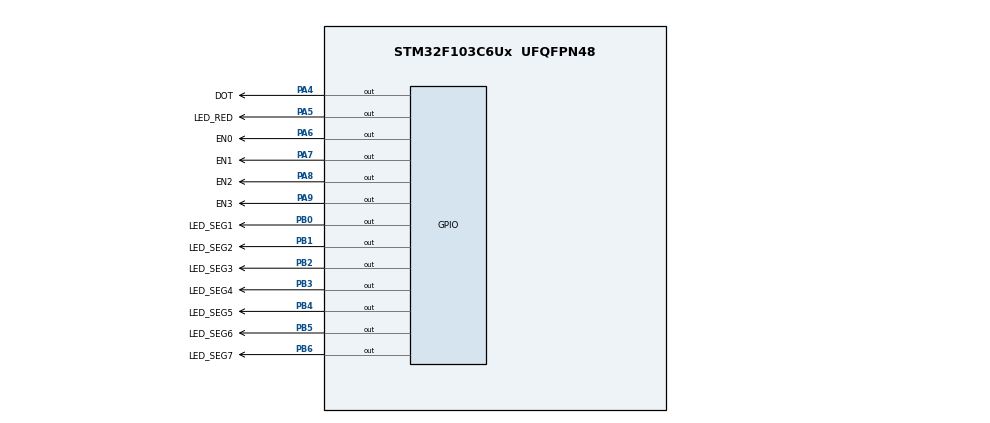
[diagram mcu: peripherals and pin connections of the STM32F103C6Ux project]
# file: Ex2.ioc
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Mcu.Family=STM32F1
Mcu.Name=STM32F103C6Ux
Mcu.Package=UFQFPN48
NVIC.PriorityGroup=NVIC_PRIORITYGROUP_4
NVIC.TIM2_IRQn=true\:0\:0\:false\:false\:true\:true\:true
PA4.GPIO_Label=DOT
PA4.Signal=GPIO_Output
PA5.GPIO_Label=LED_RED
PA5.Signal=GPIO_Output
PA6.GPIO_Label=EN0
PA6.Signal=GPIO_Output
PA7.GPIO_Label=EN1
PA7.Signal=GPIO_Output
PA8.GPIO_Label=EN2
PA8.Signal=GPIO_Output
PA9.GPIO_Label=EN3
PA9.Signal=GPIO_Output
PB0.GPIO_Label=LED_SEG1
PB0.Signal=GPIO_Output
PB1.GPIO_Label=LED_SEG2
PB1.Signal=GPIO_Output
PB2.GPIO_Label=LED_SEG3
PB2.Signal=GPIO_Output
PB3.GPIO_Label=LED_SEG4
PB3.Signal=GPIO_Output
PB4.GPIO_Label=LED_SEG5
PB4.Signal=GPIO_Output
PB5.GPIO_Label=LED_SEG6
PB5.Signal=GPIO_Output
PB6.GPIO_Label=LED_SEG7
PB6.Signal=GPIO_Output
ProjectManager.HeapSize=0x200
ProjectManager.StackSize=0x400
ProjectManager.TargetToolchain=STM32CubeIDE
RCC.APB1Freq_Value=8000000
RCC.APB2Freq_Value=8000000
TIM2.Period=9
TIM2.Prescaler=7999
VP_SYS_VS_ND.Mode=No_Debug
VP_TIM2_VS_ClockSourceINT.Mode=Internal
board=custom

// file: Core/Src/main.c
/* USER CODE BEGIN Header */
/**
  ******************************************************************************
  * @file           : main.c
  * @brief          : Main program body
  ******************************************************************************
  * @attention
  *
  * <h2><center>&copy; Copyright (c) 2022 STMicroelectronics.
  * All rights reserved.</center></h2>
  *
  * This software component is licensed by ST under BSD 3-Clause license,
  * the "License"; You may not use this file except in compliance with the
  * License. You may obtain a copy of the License at:
  *                        opensource.org/licenses/BSD-3-Clause
  *
  ******************************************************************************
  */
/* USER CODE END Header */
#include "main.h"

/* USER CODE BEGIN Includes */
#include "timer.h"
/* USER CODE END Includes */

TIM_HandleTypeDef htim2;

void SystemClock_Config(void);
static void MX_GPIO_Init(void);
static void MX_TIM2_Init(void);

/* USER CODE BEGIN 0 */
void display7SEG(int num){
	if(num==0){
		HAL_GPIO_WritePin(LED_SEG1_GPIO_Port, LED_SEG1_Pin, 0);
		HAL_GPIO_WritePin(LED_SEG2_GPIO_Port, LED_SEG2_Pin, 0);
		HAL_GPIO_WritePin(LED_SEG3_GPIO_Port, LED_SEG3_Pin, 0);
		HAL_GPIO_WritePin(LED_SEG4_GPIO_Port, LED_SEG4_Pin, 0);
		HAL_GPIO_WritePin(LED_SEG5_GPIO_Port, LED_SEG5_Pin, 0);
		HAL_GPIO_WritePin(LED_SEG6_GPIO_Port, LED_SEG6_Pin, 0);
		HAL_GPIO_WritePin(LED_SEG7_GPIO_Port, LED_SEG7_Pin, 1);
	}
	if(num==1){
		HAL_GPIO_WritePin(LED_SEG1_GPIO_Port, LED_SEG1_Pin, 1);
		HAL_GPIO_WritePin(LED_SEG2_GPIO_Port, LED_SEG2_Pin, 0);
		HAL_GPIO_WritePin(LED_SEG3_GPIO_Port, LED_SEG3_Pin, 0);
		HAL_GPIO_WritePin(LED_SEG4_GPIO_Port, LED_SEG4_Pin, 1);
		HAL_GPIO_WritePin(LED_SEG5_GPIO_Port, LED_SEG5_Pin, 1);
		HAL_GPIO_WritePin(LED_SEG6_GPIO_Port, LED_SEG6_Pin, 1);
		HAL_GPIO_WritePin(LED_SEG7_GPIO_Port, LED_SEG7_Pin, 1);
	}
	if(num==2){
		HAL_GPIO_WritePin(LED_SEG1_GPIO_Port, LED_SEG1_Pin, 0);
		HAL_GPIO_WritePin(LED_SEG2_GPIO_Port, LED_SEG2_Pin, 0);
		HAL_GPIO_WritePin(LED_SEG3_GPIO_Port, LED_SEG3_Pin, 1);
		HAL_GPIO_WritePin(LED_SEG4_GPIO_Port, LED_SEG4_Pin, 0);
		HAL_GPIO_WritePin(LED_SEG5_GPIO_Port, LED_SEG5_Pin, 0);
		HAL_GPIO_WritePin(LED_SEG6_GPIO_Port, LED_SEG6_Pin, 1);
		HAL_GPIO_WritePin(LED_SEG7_GPIO_Port, LED_SEG7_Pin, 0);
	}
	if(num==3){
		HAL_GPIO_WritePin(LED_SEG1_GPIO_Port, LED_SEG1_Pin, 0);
		HAL_GPIO_WritePin(LED_SEG2_GPIO_Port, LED_SEG2_Pin, 0);
		HAL_GPIO_WritePin(LED_SEG3_GPIO_Port, LED_SEG3_Pin, 0);
		HAL_GPIO_WritePin(LED_SEG4_GPIO_Port, LED_SEG4_Pin, 0);
		HAL_GPIO_WritePin(LED_SEG5_GPIO_Port, LED_SEG5_Pin, 1);
		HAL_GPIO_WritePin(LED_SEG6_GPIO_Port, LED_SEG6_Pin, 1);
		HAL_GPIO_WritePin(LED_SEG7_GPIO_Port, LED_SEG7_Pin, 0);
	}
	if(num==4){
		HAL_GPIO_WritePin(LED_SEG1_GPIO_Port, LED_SEG1_Pin, 1);
		HAL_GPIO_WritePin(LED_SEG2_GPIO_Port, LED_SEG2_Pin, 0);
		HAL_GPIO_WritePin(LED_SEG3_GPIO_Port, LED_SEG3_Pin, 0);
		HAL_GPIO_WritePin(LED_SEG4_GPIO_Port, LED_SEG4_Pin, 1);
		HAL_GPIO_WritePin(LED_SEG5_GPIO_Port, LED_SEG5_Pin, 1);
		HAL_GPIO_WritePin(LED_SEG6_GPIO_Port, LED_SEG6_Pin, 0);
		HAL_GPIO_WritePin(LED_SEG7_GPIO_Port, LED_SEG7_Pin, 0);
	}
	if(num==5){
		HAL_GPIO_WritePin(LED_SEG1_GPIO_Port, LED_SEG1_Pin, 0);
		HAL_GPIO_WritePin(LED_SEG2_GPIO_Port, LED_SEG2_Pin, 1);
		HAL_GPIO_WritePin(LED_SEG3_GPIO_Port, LED_SEG3_Pin, 0);
		HAL_GPIO_WritePin(LED_SEG4_GPIO_Port, LED_SEG4_Pin, 0);
		HAL_GPIO_WritePin(LED_SEG5_GPIO_Port, LED_SEG5_Pin, 1);
		HAL_GPIO_WritePin(LED_SEG6_GPIO_Port, LED_SEG6_Pin, 0);
		HAL_GPIO_WritePin(LED_SEG7_GPIO_Port, LED_SEG7_Pin, 0);
	}
	if(num==6){
		HAL_GPIO_WritePin(LED_SEG1_GPIO_Port, LED_SEG1_Pin, 0);
		HAL_GPIO_WritePin(LED_SEG2_GPIO_Port, LED_SEG2_Pin, 1);
		HAL_GPIO_WritePin(LED_SEG3_GPIO_Port, LED_SEG3_Pin, 0);
		HAL_GPIO_WritePin(LED_SEG4_GPIO_Port, LED_SEG4_Pin, 0);
		HAL_GPIO_WritePin(LED_SEG5_GPIO_Port, LED_SEG5_Pin, 0);
		HAL_GPIO_WritePin(LED_SEG6_GPIO_Port, LED_SEG6_Pin, 0);
		HAL_GPIO_WritePin(LED_SEG7_GPIO_Port, LED_SEG7_Pin, 0);
	}
	if(num==7){
		HAL_GPIO_WritePin(LED_SEG1_GPIO_Port, LED_SEG1_Pin, 0);
		HAL_GPIO_WritePin(LED_SEG2_GPIO_Port, LED_SEG2_Pin, 0);
		HAL_GPIO_WritePin(LED_SEG3_GPIO_Port, LED_SEG3_Pin, 0);
		HAL_GPIO_WritePin(LED_SEG4_GPIO_Port, LED_SEG4_Pin, 1);
		HAL_GPIO_WritePin(LED_SEG5_GPIO_Port, LED_SEG5_Pin, 1);
		HAL_GPIO_WritePin(LED_SEG6_GPIO_Port, LED_SEG6_Pin, 1);
		HAL_GPIO_WritePin(LED_SEG7_GPIO_Port, LED_SEG7_Pin, 1);
	}
	if(num==8){
		HAL_GPIO_WritePin(LED_SEG1_GPIO_Port, LED_SEG1_Pin, 0);
		HAL_GPIO_WritePin(LED_SEG2_GPIO_Port, LED_SEG2_Pin, 0);
		HAL_GPIO_WritePin(LED_SEG3_GPIO_Port, LED_SEG3_Pin, 0);
		HAL_GPIO_WritePin(LED_SEG4_GPIO_Port, LED_SEG4_Pin, 0);
		HAL_GPIO_WritePin(LED_SEG5_GPIO_Port, LED_SEG5_Pin, 0);
		HAL_GPIO_WritePin(LED_SEG6_GPIO_Port, LED_SEG6_Pin, 0);
		HAL_GPIO_WritePin(LED_SEG7_GPIO_Port, LED_SEG7_Pin, 0);
	}
	if(num==9){
		HAL_GPIO_WritePin(LED_SEG1_GPIO_Port, LED_SEG1_Pin, 0);
		HAL_GPIO_WritePin(LED_SEG2_GPIO_Port, LED_SEG2_Pin, 0);
		HAL_GPIO_WritePin(LED_SEG3_GPIO_Port, LED_SEG3_Pin, 0);
		HAL_GPIO_WritePin(LED_SEG4_GPIO_Port, LED_SEG4_Pin, 0);
		HAL_GPIO_WritePin(LED_SEG5_GPIO_Port, LED_SEG5_Pin, 1);
		HAL_GPIO_WritePin(LED_SEG6_GPIO_Port, LED_SEG6_Pin, 0);
		HAL_GPIO_WritePin(LED_SEG7_GPIO_Port, LED_SEG7_Pin, 0);
	}
}
/* USER CODE END 0 */

int main(void)
{

  /* MCU Configuration--------------------------------------------------------*/

  /* Reset of all peripherals, Initializes the Flash interface and the Systick. */
  HAL_Init();

  /* Configure the system clock */
  SystemClock_Config();

  /* Initialize all configured peripherals */
  MX_GPIO_Init();
  MX_TIM2_Init();
  /* USER CODE BEGIN 2 */
  HAL_TIM_Base_Start_IT(&htim2);
  /* USER CODE END 2 */

  /* Infinite loop */
  /* USER CODE BEGIN WHILE */
  	setTimer1(100);
  	HAL_GPIO_WritePin(EN0_GPIO_Port, EN0_Pin, RESET);
  	HAL_GPIO_WritePin(EN1_GPIO_Port, EN1_Pin, SET);
  	HAL_GPIO_WritePin(EN2_GPIO_Port, EN3_Pin, SET);
  	HAL_GPIO_WritePin(EN3_GPIO_Port, EN2_Pin, SET);
    while (1)
    {
  	  if(timer1_flag==1){
  		  setTimer1(100);
  		  HAL_GPIO_TogglePin(LED_RED_GPIO_Port, LED_RED_Pin);
  		  HAL_GPIO_TogglePin(DOT_GPIO_Port, DOT_Pin);
  	  }
    /* USER CODE END WHILE */

  }
}

void SystemClock_Config(void)
{
  RCC_OscInitTypeDef RCC_OscInitStruct = {0};
  RCC_ClkInitTypeDef RCC_ClkInitStruct = {0};

  /** Initializes the RCC Oscillators according to the specified parameters
  * in the RCC_OscInitTypeDef structure.
  */
  RCC_OscInitStruct.OscillatorType = RCC_OSCILLATORTYPE_HSI;
  RCC_OscInitStruct.HSIState = RCC_HSI_ON;
  RCC_OscInitStruct.HSICalibrationValue = RCC_HSICALIBRATION_DEFAULT;
  RCC_OscInitStruct.PLL.PLLState = RCC_PLL_NONE;
  if (HAL_RCC_OscConfig(&RCC_OscInitStruct) != HAL_OK)
  {
    Error_Handler();
  }
  /** Initializes the CPU, AHB and APB buses clocks
  */
  RCC_ClkInitStruct.ClockType = RCC_CLOCKTYPE_HCLK|RCC_CLOCKTYPE_SYSCLK
                              |RCC_CLOCKTYPE_PCLK1|RCC_CLOCKTYPE_PCLK2;
  RCC_ClkInitStruct.SYSCLKSource = RCC_SYSCLKSOURCE_HSI;
  RCC_ClkInitStruct.AHBCLKDivider = RCC_SYSCLK_DIV1;
  RCC_ClkInitStruct.APB1CLKDivider = RCC_HCLK_DIV1;
  RCC_ClkInitStruct.APB2CLKDivider = RCC_HCLK_DIV1;

  if (HAL_RCC_ClockConfig(&RCC_ClkInitStruct, FLASH_LATENCY_0) != HAL_OK)
  {
    Error_Handler();
  }
}

static void MX_TIM2_Init(void)
{

  TIM_ClockConfigTypeDef sClockSourceConfig = {0};
  TIM_MasterConfigTypeDef sMasterConfig = {0};

  htim2.Instance = TIM2;
  htim2.Init.Prescaler = 7999;
  htim2.Init.CounterMode = TIM_COUNTERMODE_UP;
  htim2.Init.Period = 9;
  htim2.Init.ClockDivision = TIM_CLOCKDIVISION_DIV1;
  htim2.Init.AutoReloadPreload = TIM_AUTORELOAD_PRELOAD_DISABLE;
  if (HAL_TIM_Base_Init(&htim2) != HAL_OK)
  {
    Error_Handler();
  }
  sClockSourceConfig.ClockSource = TIM_CLOCKSOURCE_INTERNAL;
  if (HAL_TIM_ConfigClockSource(&htim2, &sClockSourceConfig) != HAL_OK)
  {
    Error_Handler();
  }
  sMasterConfig.MasterOutputTrigger = TIM_TRGO_RESET;
  sMasterConfig.MasterSlaveMode = TIM_MASTERSLAVEMODE_DISABLE;
  if (HAL_TIMEx_MasterConfigSynchronization(&htim2, &sMasterConfig) != HAL_OK)
  {
    Error_Handler();
  }

}

static void MX_GPIO_Init(void)
{
  GPIO_InitTypeDef GPIO_InitStruct = {0};

  /* GPIO Ports Clock Enable */
  __HAL_RCC_GPIOA_CLK_ENABLE();
  __HAL_RCC_GPIOB_CLK_ENABLE();

  /*Configure GPIO pin Output Level */
  HAL_GPIO_WritePin(GPIOA, DOT_Pin|LED_RED_Pin|EN0_Pin|EN1_Pin
                          |EN2_Pin|EN3_Pin, GPIO_PIN_RESET);

  /*Configure GPIO pin Output Level */
  HAL_GPIO_WritePin(GPIOB, LED_SEG1_Pin|LED_SEG2_Pin|LED_SEG3_Pin|LED_SEG4_Pin
                          |LED_SEG5_Pin|LED_SEG6_Pin|LED_SEG7_Pin, GPIO_PIN_RESET);

  /*Configure GPIO pins : DOT_Pin LED_RED_Pin EN0_Pin EN1_Pin
                           EN2_Pin EN3_Pin */
  GPIO_InitStruct.Pin = DOT_Pin|LED_RED_Pin|EN0_Pin|EN1_Pin
                          |EN2_Pin|EN3_Pin;
  GPIO_InitStruct.Mode = GPIO_MODE_OUTPUT_PP;
  GPIO_InitStruct.Pull = GPIO_NOPULL;
  GPIO_InitStruct.Speed = GPIO_SPEED_FREQ_LOW;
  HAL_GPIO_Init(GPIOA, &GPIO_InitStruct);

  /*Configure GPIO pins : LED_SEG1_Pin LED_SEG2_Pin LED_SEG3_Pin LED_SEG4_Pin
                           LED_SEG5_Pin LED_SEG6_Pin LED_SEG7_Pin */
  GPIO_InitStruct.Pin = LED_SEG1_Pin|LED_SEG2_Pin|LED_SEG3_Pin|LED_SEG4_Pin
                          |LED_SEG5_Pin|LED_SEG6_Pin|LED_SEG7_Pin;
  GPIO_InitStruct.Mode = GPIO_MODE_OUTPUT_PP;
  GPIO_InitStruct.Pull = GPIO_NOPULL;
  GPIO_InitStruct.Speed = GPIO_SPEED_FREQ_LOW;
  HAL_GPIO_Init(GPIOB, &GPIO_InitStruct);

}
/* USER CODE BEGIN 4 */
int counter = 50;
int status = 1;
void HAL_TIM_PeriodElapsedCallback(TIM_HandleTypeDef * htim){
		if(counter>0){
			counter--;
			if(counter<=0){
				if(status==1){
					HAL_GPIO_WritePin(EN0_GPIO_Port, EN0_Pin, SET);
					HAL_GPIO_WritePin(EN1_GPIO_Port, EN1_Pin, RESET);
					HAL_GPIO_WritePin(EN2_GPIO_Port, EN2_Pin, SET);
					HAL_GPIO_WritePin(EN3_GPIO_Port, EN3_Pin, SET);
				}
				if(status==2){
					HAL_GPIO_WritePin(EN0_GPIO_Port, EN0_Pin, SET);
					HAL_GPIO_WritePin(EN1_GPIO_Port, EN1_Pin, SET);
					HAL_GPIO_WritePin(EN2_GPIO_Port, EN2_Pin, SET);
					HAL_GPIO_WritePin(EN3_GPIO_Port, EN3_Pin, RESET);
				}
				if(status==3){
					HAL_GPIO_WritePin(EN0_GPIO_Port, EN0_Pin, SET);
					HAL_GPIO_WritePin(EN1_GPIO_Port, EN1_Pin, SET);
					HAL_GPIO_WritePin(EN2_GPIO_Port, EN2_Pin, RESET);
					HAL_GPIO_WritePin(EN3_GPIO_Port, EN3_Pin, SET);
				}
				if(status==0){
					HAL_GPIO_WritePin(EN0_GPIO_Port, EN0_Pin, RESET);
					HAL_GPIO_WritePin(EN1_GPIO_Port, EN1_Pin, SET);
					HAL_GPIO_WritePin(EN2_GPIO_Port, EN2_Pin, SET);
					HAL_GPIO_WritePin(EN3_GPIO_Port, EN3_Pin, SET);
				}
				counter=50;
				status++;
				if(status>=4){status=0;}
			}
		}
		display7SEG(status);
		timerRun();
}
/* USER CODE END 4 */

void Error_Handler(void)
{
  __disable_irq();
  while (1)
  {
  }
}

/************************ (C) COPYRIGHT STMicroelectronics *****END OF FILE****/
